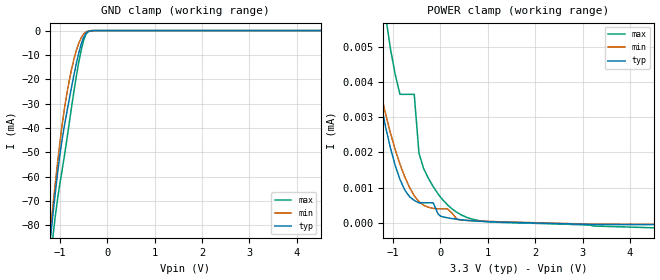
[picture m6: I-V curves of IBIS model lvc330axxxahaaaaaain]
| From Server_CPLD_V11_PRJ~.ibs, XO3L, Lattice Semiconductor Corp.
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[Model]   lvc330axxxahaaaaaain
Model_type   Input
Polarity   Non-Inverting
Enable   Active-Low
Vinl =   0.8000V
Vinh =   2.0000V
C_comp   4.2000pF   3.8000pF   7.5000pF
[Temperature Range]   25.0000   0.1050k   -40.0000
[Voltage Range]   3.3000V   3.1400V   3.4700V
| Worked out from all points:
|   GND clamp passes 1 mA (typ) near -0.44 V on its own axis
[GND_clamp]
|Voltage   I(typ)   I(min)   I(max)
-3.3V     -955.3mA   -930.3mA   -978mA
-1.2V     -86.18mA   -82.93mA   -94.91mA
-1.15V    -76.73mA   -73.29mA   -85.74mA
-1.1V     -67.71mA   -63.95mA   -77.28mA
-1V       -51.52mA   -46.57mA   -63.21mA
-900mV    -38.87mA   -31.88mA   -51.26mA
-800mV    -28.25mA   -20.58mA   -37.97mA
-700mV    -18.1mA    -11.63mA   -24.81mA
-600mV    -9.267mA   -5.265mA   -13.06mA
-450mV    -1.181mA   -586.6uA   -1.592mA
-250mV    -3.532uA   -4.055uA   -3.003uA
6.6V      0A         0A         0A
[POWER_clamp]
|Voltage   I(typ)   I(min)   I(max)
-3.25V    664.8uA    749.4uA    597.1uA
-1.55V    5.916uA    5.714uA    11.4uA
-1.45V    4.989uA    4.976uA    9.753uA
-1.15V    2.705uA    3.075uA    5.865uA
-850mV    1.228uA    1.663uA    3.656uA
-550mV    632.9nA    768.1nA    3.656uA
-450mV    565.1nA    597.1nA    1.977uA
-150mV    565.1nA    405.8nA    1.026uA
0V        190.5nA    392.6nA    734.7nA
450mV     79.23nA    72.94nA    213.9nA
950mV     30.32nA    38.42nA    33.55nA
6.6V      -57.56nA   -49.34nA   -232.5nA
